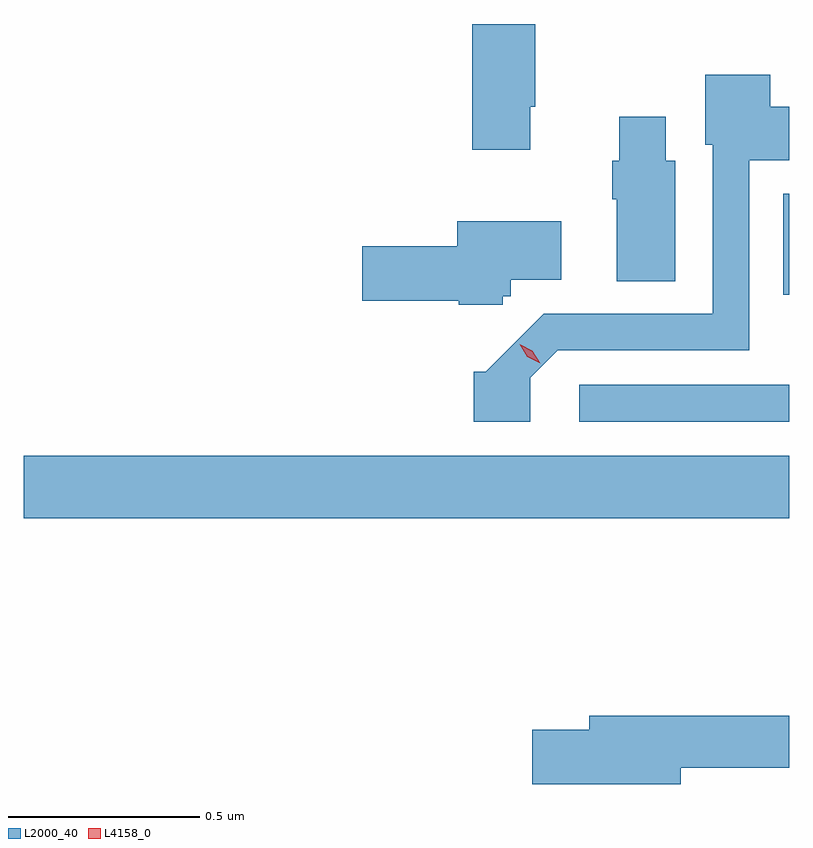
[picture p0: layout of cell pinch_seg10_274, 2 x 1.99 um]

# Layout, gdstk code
import gdstk
lib = gdstk.Library(unit=1e-6, precision=1e-09)
def R(c, l, rs):  # rectangles x0, y0, x1, y1
    for r in rs: c.add(gdstk.rectangle(r[:2], r[2:], *l))
def P(c, l, *ps):  # polygons
    for p in ps: c.add(gdstk.Polygon(p, *l))
L2000_40 = (2000, 40)
L4158_0 = (4158, 0)

pinch_seg10_274 = lib.new_cell('pinch_seg10_274')
R(pinch_seg10_274, L2000_40, [(546.291,1293.656,548.291,1293.82), (547.743,1293.909,548.291,1294.005), (548.276,1294.241,548.291,1294.504)])
P(pinch_seg10_274, L2000_40, [(547.615,1294.732),(547.628,1294.732),(547.628,1294.948),(547.463,1294.948),(547.463,1294.62),(547.615,1294.62)],
  [(547.614,1294.023),(547.686,1294.095),(548.187,1294.095),(548.187,1294.592),(548.291,1294.592),(548.291,1294.732),(548.241,1294.732),(548.241,1294.816),(548.072,1294.816),(548.072,1294.632),(548.091,1294.632),(548.091,1294.191),(547.65,1294.191),(547.498,1294.039),(547.467,1294.039),(547.467,1293.909),(547.614,1293.909)],
  [(547.993,1294.59),(547.969,1294.59),(547.969,1294.705),(547.847,1294.705),(547.847,1294.59),(547.829,1294.59),(547.829,1294.49),(547.841,1294.49),(547.841,1294.276),(547.993,1294.276)],
  [(547.542,1294.236),(547.563,1294.236),(547.563,1294.28),(547.696,1294.28),(547.696,1294.432),(547.424,1294.432),(547.424,1294.367),(547.176,1294.367),(547.176,1294.225),(547.428,1294.225),(547.428,1294.215),(547.542,1294.215)],
  [(548.008,1293.004),(548.291,1293.004),(548.291,1293.14),(547.769,1293.14),(547.769,1293.104),(547.62,1293.104),(547.62,1292.962),(548.008,1292.962)])
P(pinch_seg10_274, L4158_0, [(547.64,1294.062),(547.607,1294.079),(547.587,1294.111),(547.587,1294.111),(547.587,1294.111),(547.62,1294.094),(547.64,1294.062),(547.64,1294.062)])

lib.write_gds('pinch_seg10_274.gds')
